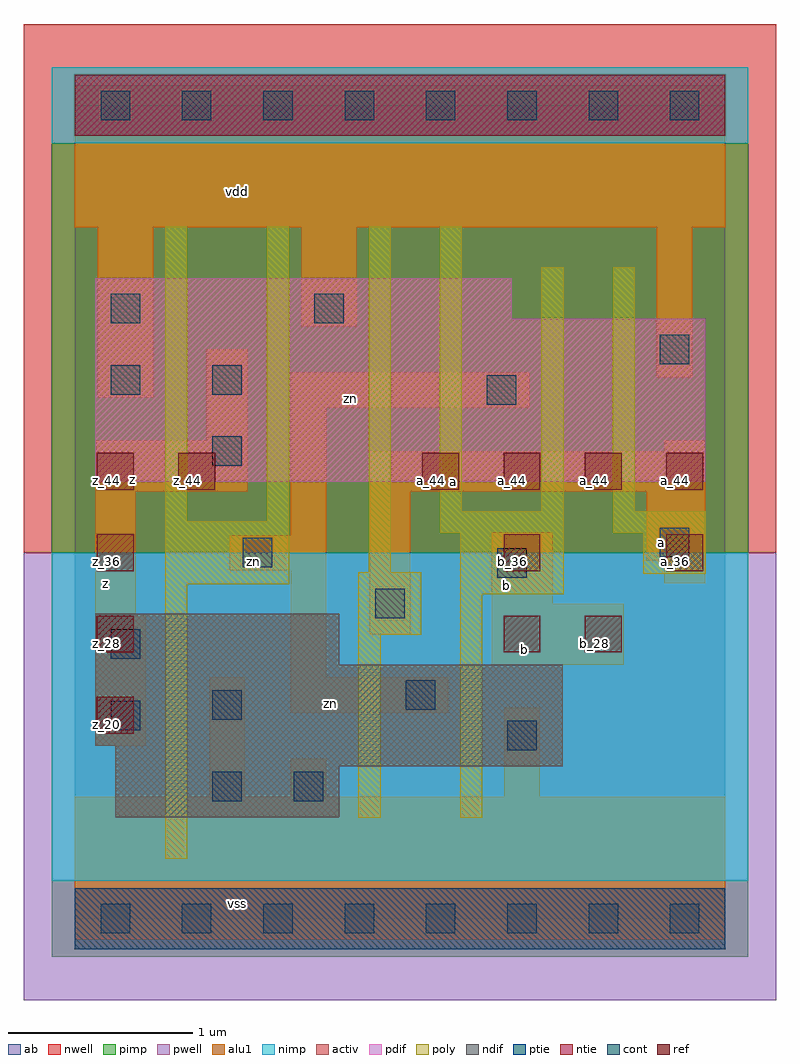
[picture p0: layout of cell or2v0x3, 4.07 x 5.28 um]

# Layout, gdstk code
import gdstk
lib = gdstk.Library(unit=1e-6, precision=2.5e-09)
def R(c, l, rs):  # rectangles x0, y0, x1, y1
    for r in rs: c.add(gdstk.rectangle(r[:2], r[2:], *l))
def A(c, l, x, y, w, h, nx, ny, dx, dy):  # array of equal rectangles
    R(c, l, [(x+i*dx, y+j*dy, x+i*dx+w, y+j*dy+h) for i in range(nx) for j in range(ny)])
ndif = (3, 0)
pdif = (4, 0)
ntie = (5, 0)
ptie = (6, 0)
ref = (24, 0)
cont = (25, 0)
pwell = (41, 0)
nwell = (42, 0)
activ = (43, 0)
pimp = (44, 0)
nimp = (45, 0)
poly = (46, 0)
alu1 = (49, 0)
ab = (63, 0)

or2v0x3 = lib.new_cell('or2v0x3')
R(or2v0x3, ndif, [(0.22,0.55,1.43,0.825), (0.22,0.825,2.64,0.935), (0.11,0.935,2.64,1.375), (0.11,1.375,1.43,1.65)])
R(or2v0x3, pdif, [(0.11,2.365,3.41,3.245), (0.11,3.245,2.365,3.465)])
R(or2v0x3, ntie, [(0,4.235,3.52,4.565)])
R(or2v0x3, ptie, [(0,-0.165,3.52,0.165)])
A(or2v0x3, ref, 0.12, 1, 0.2, 0.2, 1, 4, 0, 0.44)
A(or2v0x3, ref, 1.88, 2.32, 0.2, 0.2, 4, 1, 0.44, 0)
R(or2v0x3, ref, [(2.32,1.44,2.52,1.64), (2.76,1.44,2.96,1.64), (2.32,1.88,2.52,2.08), (3.2,1.88,3.4,2.08), (0.56,2.32,0.76,2.52)])
A(or2v0x3, cont, 0.14, -0.08, 0.16, 0.16, 8, 2, 0.44, 4.4)
R(or2v0x3, cont, [(0.745,0.635,0.905,0.795), (1.185,0.635,1.345,0.795), (2.34,0.91,2.5,1.07), (0.195,1.02,0.355,1.18), (0.745,1.075,0.905,1.235), (1.79,1.13,1.95,1.29), (0.195,1.405,0.355,1.565), (1.625,1.625,1.785,1.785), (2.285,1.845,2.445,2.005), (0.91,1.9,1.07,2.06), (3.165,1.955,3.325,2.115), (0.745,2.45,0.905,2.61), (2.23,2.78,2.39,2.94), (0.195,2.835,0.355,2.995), (0.745,2.835,0.905,2.995), (3.165,3,3.325,3.16), (0.195,3.22,0.355,3.38), (1.295,3.22,1.455,3.38)])
R(or2v0x3, pwell, [(-0.275,-0.44,3.795,1.98)])
R(or2v0x3, nwell, [(-0.275,1.98,3.795,4.84)])
R(or2v0x3, activ, [(0,-0.165,3.52,0.165), (0.22,0.55,1.43,0.825), (0.22,0.825,2.64,0.935), (0.11,0.935,2.64,1.375), (0.11,1.375,1.43,1.65), (0.11,2.365,3.41,3.245), (0.11,3.245,2.365,3.465), (0,4.235,3.52,4.565)])
R(or2v0x3, pimp, [(-0.125,-0.205,3.645,0.205), (-0.125,1.98,3.645,4.195)])
R(or2v0x3, nimp, [(-0.125,0.205,3.645,1.98), (-0.125,4.195,3.645,4.605)])
R(or2v0x3, poly, [(0.49,0.325,0.61,1.81), (1.535,0.545,1.655,1.535), (2.085,0.545,2.205,1.755), (1.535,1.535,1.875,1.875), (2.085,1.755,2.645,2.085), (0.49,1.81,1.16,2.15), (3.075,1.865,3.415,2.085), (1.59,1.875,1.71,3.745), (1.975,2.085,2.645,2.205), (2.91,2.085,3.415,2.205), (0.49,2.15,0.61,3.745), (1.04,2.15,1.16,3.745), (1.975,2.205,2.095,3.745), (2.525,2.205,2.645,3.525), (2.91,2.205,3.03,3.525)])
R(or2v0x3, alu1, [(0,-0.11,3.52,0.66), (0.73,0.66,0.92,1.305), (1.17,0.66,1.36,0.865), (2.325,0.66,2.515,1.14), (0.11,0.935,0.385,1.65), (1.17,1.115,2.02,1.305), (1.17,1.305,1.36,1.885), (2.255,1.375,2.97,1.705), (1.595,1.54,1.815,2.31), (0.11,1.65,0.33,2.31), (2.255,1.705,2.585,2.09), (3.19,1.815,3.41,1.94), (0.84,1.885,1.36,2.075), (3.095,1.94,3.41,2.31), (1.17,2.075,1.36,2.765), (0.11,2.31,0.935,2.585), (1.595,2.31,3.41,2.53), (3.19,2.53,3.41,2.585), (0.715,2.585,0.935,3.08), (1.17,2.765,2.46,2.955), (0.125,2.82,0.425,3.74), (3.15,2.93,3.34,3.74), (1.225,3.205,1.525,3.74), (0,3.74,3.52,4.51)])
R(or2v0x3, ab, [(0,0,3.52,4.4)])
or2v0x3.add(gdstk.Label('vss', (0.88,0.0825), layer=49, texttype=0))
or2v0x3.add(gdstk.Label('zn', (1.3825,1.1625), layer=49, texttype=0))
or2v0x3.add(gdstk.Label('b', (2.4325,1.4575), layer=49, texttype=0))
or2v0x3.add(gdstk.Label('a', (3.1725,2.0325), layer=49, texttype=0))
or2v0x3.add(gdstk.Label('b', (2.3375,1.8), layer=49, texttype=0))
or2v0x3.add(gdstk.Label('a', (2.0475,2.365), layer=49, texttype=0))
or2v0x3.add(gdstk.Label('zn', (0.97,1.9325), layer=49, texttype=0))
or2v0x3.add(gdstk.Label('z', (0.165,1.815), layer=49, texttype=0))
or2v0x3.add(gdstk.Label('zn', (1.4925,2.8125), layer=49, texttype=0))
or2v0x3.add(gdstk.Label('z', (0.315,2.3775), layer=49, texttype=0))
or2v0x3.add(gdstk.Label('vdd', (0.88,3.9325), layer=49, texttype=0))
or2v0x3.add(gdstk.Label('z_44', (0.61,2.37), layer=24, texttype=0))
or2v0x3.add(gdstk.Label('a_44', (1.93,2.37), layer=24, texttype=0))
or2v0x3.add(gdstk.Label('z_20', (0.17,1.05), layer=24, texttype=0))
or2v0x3.add(gdstk.Label('z_28', (0.17,1.49), layer=24, texttype=0))
or2v0x3.add(gdstk.Label('z_36', (0.17,1.93), layer=24, texttype=0))
or2v0x3.add(gdstk.Label('z_44', (0.17,2.37), layer=24, texttype=0))
or2v0x3.add(gdstk.Label('b_28', (2.37,1.49), layer=24, texttype=0))
or2v0x3.add(gdstk.Label('b_36', (2.37,1.93), layer=24, texttype=0))
or2v0x3.add(gdstk.Label('a_44', (2.37,2.37), layer=24, texttype=0))
or2v0x3.add(gdstk.Label('b_28', (2.81,1.49), layer=24, texttype=0))
or2v0x3.add(gdstk.Label('a_44', (2.81,2.37), layer=24, texttype=0))
or2v0x3.add(gdstk.Label('a_36', (3.25,1.93), layer=24, texttype=0))
or2v0x3.add(gdstk.Label('a_44', (3.25,2.37), layer=24, texttype=0))

lib.write_gds('or2v0x3.gds')
